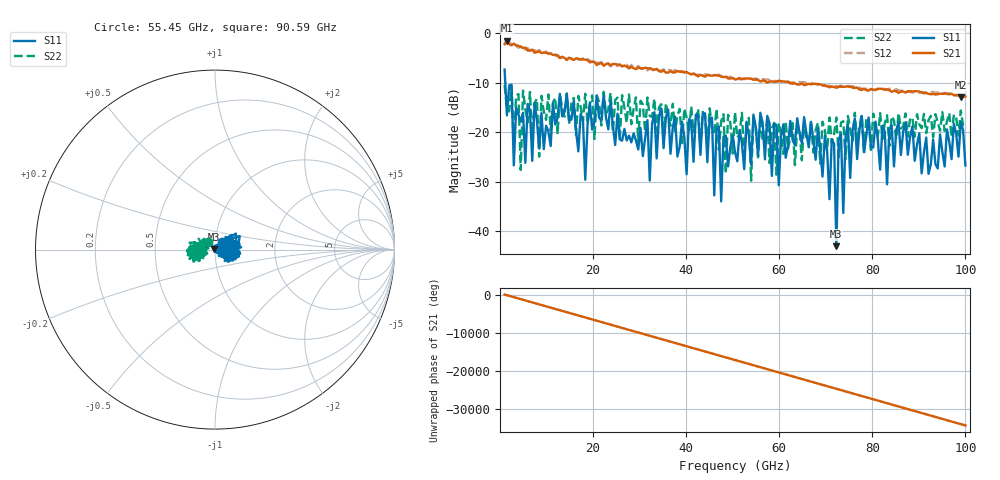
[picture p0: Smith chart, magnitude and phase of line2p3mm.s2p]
!Created with skrf (http://scikit-rf.org).
# GHz S RI R 50.0
!freq ReS11 ImS11 ReS21 ImS21 ReS12 ImS12 ReS22 ImS22
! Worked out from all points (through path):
!   201 points, 1 GHz to 100 GHz, reference 50 ohm
!   highest |S21| = -1.52 dB at 1.495 GHz (marker M1); lowest = -12.9 dB at 99.01 GHz (marker M2)
!   lowest |S11| = -43.0 dB at 72.28 GHz (marker M3), VSWR 1.01, Z = 49.3 + j0.0797 ohm
!   |S11| at or under -10 dB: 1.142 GHz to end of sweep
!   |S22| runs from -29.8 to -10.5 dB; largest |S21 - S12| = 0.098
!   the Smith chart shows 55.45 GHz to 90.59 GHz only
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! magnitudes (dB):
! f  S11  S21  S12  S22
! 1 GHz  -7.3  -2.2  -1.5  -10.5
! 1.495 GHz  -16.6  -1.5  -1.5  -15.2
! 17.83 GHz  -17.4  -5.3  -5.1  -17.8
! 32.19 GHz  -29.7  -7.1  -7.2  -16.7
! 34.16 GHz  -16.8  -7.7  -7.6  -15.0
! 45.55 GHz  -17.1  -8.6  -8.3  -19.1
! 46.05 GHz  -32.8  -8.4  -8.5  -20.0
! 47.03 GHz  -18.9  -8.6  -8.4  -23.5
! 47.53 GHz  -34.0  -8.8  -8.7  -17.7
! 48.52 GHz  -20.7  -8.8  -8.7  -28.4
! 50.5 GHz  -24.0  -9.3  -9.2  -15.9
! 53.97 GHz  -26.5  -9.2  -9.3  -29.8
! 54.46 GHz  -16.4  -9.4  -9.3  -16.9
! 67.33 GHz  -21.7  -10.2  -10.2  -24.1
! 71.78 GHz  -22.3  -10.9  -10.6  -20.4
! 72.28 GHz  -43.0  -11.0  -10.7  -17.0
! 73.27 GHz  -20.3  -10.8  -10.6  -18.0
! 73.77 GHz  -36.3  -10.8  -10.7  -17.8
! 74.75 GHz  -18.5  -10.8  -10.6  -16.7
! 83.67 GHz  -19.4  -11.5  -11.2  -22.7
! 99.01 GHz  -18.0  -12.9  -12.8  -15.6
! 100 GHz  -26.7  -12.8  -12.5  -18.9
